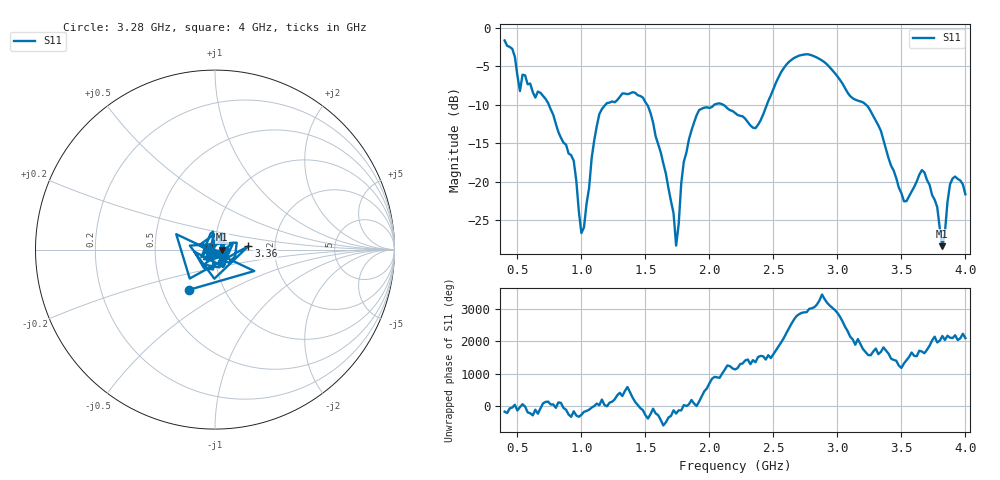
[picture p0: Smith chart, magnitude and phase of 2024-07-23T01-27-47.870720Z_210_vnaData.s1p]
!Created with skrf (http://scikit-rf.org).
# Hz S RI R 50.0
!freq ReS11 ImS11
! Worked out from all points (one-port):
!   181 points, 400 MHz to 4 GHz, reference 50 ohm
!   lowest |S11| = -28.3 dB at 3.82 GHz (marker M1), VSWR 1.08, Z = 54 - j0.137 ohm
!   |S11| at or under -10 dB: 745.6 MHz to 1.187 GHz (441.9 MHz wide, 45.7 % of centre); 1.514 GHz to 2.038 GHz (523.7 MHz wide, 29.5 % of centre); 3.224 GHz to end of sweep (the widest 3 of 4)
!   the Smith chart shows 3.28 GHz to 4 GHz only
!   S11 on the Smith chart (normalised r, x): 3.28 GHz: 0.68, -0.33; 3.36 GHz: 1.46, +0.06; 4 GHz: 1.05, -0.16
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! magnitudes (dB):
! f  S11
! 400 MHz  -1.7
! 480 MHz  -3.8
! 520 MHz  -8.2
! 540 MHz  -6.1
! 700 MHz  -8.8
! 860 MHz  -14.9
! 940 MHz  -17.3
! 1 GHz  -26.6
! 1.14 GHz  -11.2
! 1.3 GHz  -9.0
! 1.52 GHz  -10.1
! 1.66 GHz  -18.9
! 1.74 GHz  -28.3
! 1.76 GHz  -25.5
! 1.8 GHz  -17.4
! 1.92 GHz  -10.7
! 2.2 GHz  -11.0
! 2.36 GHz  -13.0
! 2.66 GHz  -3.9
! 3.1 GHz  -8.9
! 3.28 GHz  -11.5
! 3.36 GHz  -14.6
! 3.56 GHz  -21.9
! 3.68 GHz  -18.8
! 3.78 GHz  -23.3
! 3.82 GHz  -28.3
! 3.9 GHz  -19.5
! 4 GHz  -21.6
